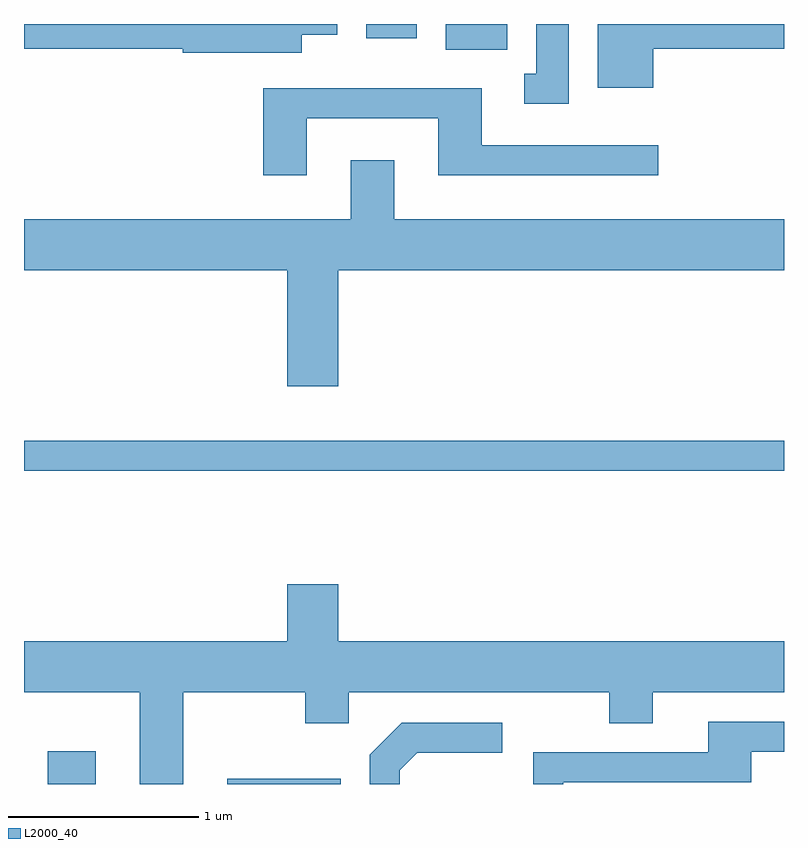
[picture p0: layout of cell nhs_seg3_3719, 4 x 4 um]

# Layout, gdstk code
import gdstk
lib = gdstk.Library(unit=1e-6, precision=1e-09)
def R(c, l, rs):  # rectangles x0, y0, x1, y1
    for r in rs: c.add(gdstk.rectangle(r[:2], r[2:], *l))
def P(c, l, *ps):  # polygons
    for p in ps: c.add(gdstk.Polygon(p, *l))
L2000_40 = (2000, 40)

nhs_seg3_3719 = lib.new_cell('nhs_seg3_3719')
R(nhs_seg3_3719, L2000_40, [(293.736,1209.892,293.989,1210.064), (294.681,1209.892,295.279,1209.919), (293.611,1211.541,297.611,1211.699), (295.831,1213.756,296.154,1213.892), (295.411,1213.816,295.679,1213.892)])
P(nhs_seg3_3719, L2000_40, [(295.074,1213.836),(295.259,1213.836),(295.259,1213.892),(293.611,1213.892),(293.611,1213.761),(294.446,1213.761),(294.446,1213.741),(295.074,1213.741)],
  [(296.924,1213.761),(297.611,1213.761),(297.611,1213.892),(296.631,1213.892),(296.631,1213.556),(296.924,1213.556)],
  [(296.479,1213.892),(296.306,1213.892),(296.306,1213.629),(296.243,1213.629),(296.243,1213.471),(296.479,1213.471)],
  [(295.099,1213.396),(295.791,1213.396),(295.791,1213.096),(296.948,1213.096),(296.948,1213.254),(296.019,1213.254),(296.019,1213.554),(294.871,1213.554),(294.871,1213.096),(295.099,1213.096)],
  [(295.264,1212.596),(297.611,1212.596),(297.611,1212.864),(295.559,1212.864),(295.559,1213.174),(295.331,1213.174),(295.331,1212.864),(293.611,1212.864),(293.611,1212.596),(294.996,1212.596),(294.996,1211.986),(295.264,1211.986)],
  [(294.449,1210.376),(295.091,1210.376),(295.091,1210.211),(295.319,1210.211),(295.319,1210.376),(296.691,1210.376),(296.691,1210.211),(296.919,1210.211),(296.919,1210.376),(297.611,1210.376),(297.611,1210.644),(295.264,1210.644),(295.264,1210.944),(294.996,1210.944),(294.996,1210.644),(293.611,1210.644),(293.611,1210.376),(294.221,1210.376),(294.221,1209.892),(294.449,1209.892)],
  [(296.449,1209.901),(297.439,1209.901),(297.439,1210.061),(297.611,1210.061),(297.611,1210.219),(297.211,1210.219),(297.211,1210.059),(296.291,1210.059),(296.291,1209.892),(296.449,1209.892)],
  [(295.589,1209.964),(295.682,1210.056),(296.128,1210.056),(296.128,1210.214),(295.599,1210.214),(295.431,1210.047),(295.431,1209.892),(295.589,1209.892)])

lib.write_gds('nhs_seg3_3719.gds')
